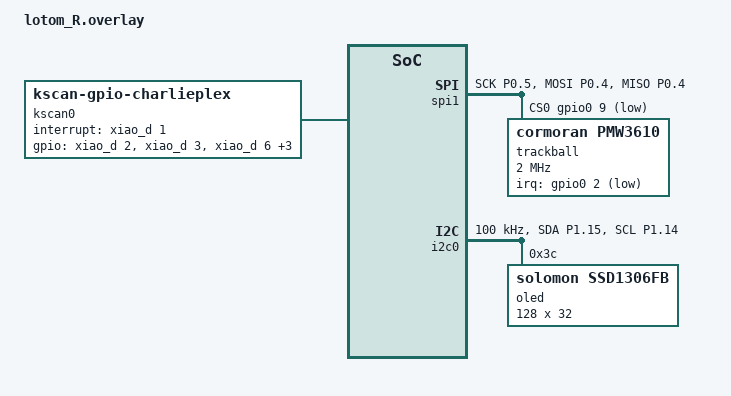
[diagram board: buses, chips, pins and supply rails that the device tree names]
#include <dt-bindings/zmk/matrix_transform.h>
#include <input/processors.dtsi>
#include <dt-bindings/zmk/input_transform.h>
#include <zephyr/dt-bindings/input/input-event-codes.h>
#include <physical_layouts.dtsi>
#include "lotom.dtsi"

/ {
    chosen {
        zmk,kscan = &kscan0;
        zmk,physical-layout = &default_layout;
        zephyr,display = &oled;
    };

    kscan0: kscan0 {
        compatible = "zmk,kscan-gpio-charlieplex";
        interrupt-gpios = <&xiao_d 1 (GPIO_ACTIVE_HIGH | GPIO_PULL_DOWN)>;
        gpios
            = <&xiao_d 2 GPIO_ACTIVE_HIGH>
            , <&xiao_d 3 GPIO_ACTIVE_HIGH>
            , <&xiao_d 6 GPIO_ACTIVE_HIGH>
            , <&gpio0 10 GPIO_ACTIVE_HIGH>
            , <&xiao_d 7 GPIO_ACTIVE_HIGH>
            , <&xiao_d 8 GPIO_ACTIVE_HIGH>
            ;
    };

    split_inputs {
        #address-cells = <1>;
        #size-cells = <0>;

        trackball_split: trackball_split@0 {
            compatible = "zmk,input-split";
            reg = <0>;
        };
    };

    trackball_listener: trackball_listener {
        compatible = "zmk,input-listener";
        status = "disabled";
        device = <&trackball>;
    };
};

&default_transform {
    col-offset = <6>;
};

// PMW3610設定 - SPI1を使用
&spi1 {
    status = "okay";
    cs-gpios = <&gpio0 9 GPIO_ACTIVE_LOW>;  // P0.09 (NFC1.09)
    pinctrl-0 = <&spi1_default>;
    pinctrl-1 = <&spi1_sleep>;
    pinctrl-names = "default", "sleep";
    compatible = "nordic,nrf-spim";

    trackball: pd@0 {
        status = "okay";
        compatible = "cormoran,pmw3610";
        reg = <0>;
        spi-max-frequency = <2000000>;
        irq-gpios = <&gpio0 2 (GPIO_ACTIVE_LOW | GPIO_PULL_UP)>;
        cpi = <600>;
        evt-type = <INPUT_EV_REL>;
        x-input-code = <INPUT_REL_X>;
        y-input-code = <INPUT_REL_Y>;
    };
};

&trackball_split {
    device = <&trackball>;
};

&trackball_listener {
    status = "okay";
    input-processors = <&mouse_runtime_input_processor &scroll_runtime_input_processor>;
};

// 右手OLED用I2C設定
&pinctrl {
    i2c0_default: i2c0_default {
        group1 {
            psels = <NRF_PSEL(TWIM_SDA, 1, 15)>,
                    <NRF_PSEL(TWIM_SCL, 1, 14)>;
        };
    };

    i2c0_sleep: i2c0_sleep {
        group1 {
            psels = <NRF_PSEL(TWIM_SDA, 1, 15)>,
                    <NRF_PSEL(TWIM_SCL, 1, 14)>;
            low-power-enable;
        };
    };
};

// SPI設定 (PMW3610用) - SPI1を使用してI2C0との競合を回避
&pinctrl {
    spi1_default: spi1_default {
        group1 {
            psels = <NRF_PSEL(SPIM_SCK, 0, 5)>,
                <NRF_PSEL(SPIM_MOSI, 0, 4)>,
                <NRF_PSEL(SPIM_MISO, 0, 4)>;
        };
    };

    spi1_sleep: spi1_sleep {
        group1 {
            psels = <NRF_PSEL(SPIM_SCK, 0, 5)>,
                <NRF_PSEL(SPIM_MOSI, 0, 4)>,
                <NRF_PSEL(SPIM_MISO, 0, 4)>;
            low-power-enable;
        };
    };
};

&i2c1 {
	status = "disabled";
};

&i2c0 {
    status = "okay";
    compatible = "nordic,nrf-twi";
    pinctrl-0 = <&i2c0_default>;
    pinctrl-1 = <&i2c0_sleep>;
    pinctrl-names = "default", "sleep";
    clock-frequency = <100000>;

    oled: ssd1306@3c {
        compatible = "solomon,ssd1306fb";
        reg = <0x3c>;
        width = <128>;
        height = <32>;
        segment-offset = <0>;
        page-offset = <0>;
        display-offset = <0>;
        multiplex-ratio = <31>;
        segment-remap;
        com-invdir;
        com-sequential;
        inversion-on;
        prechargep = <0x22>;
    };
};

&xiao_serial { status = "disabled"; };
&uart0 { status = "disabled";};
